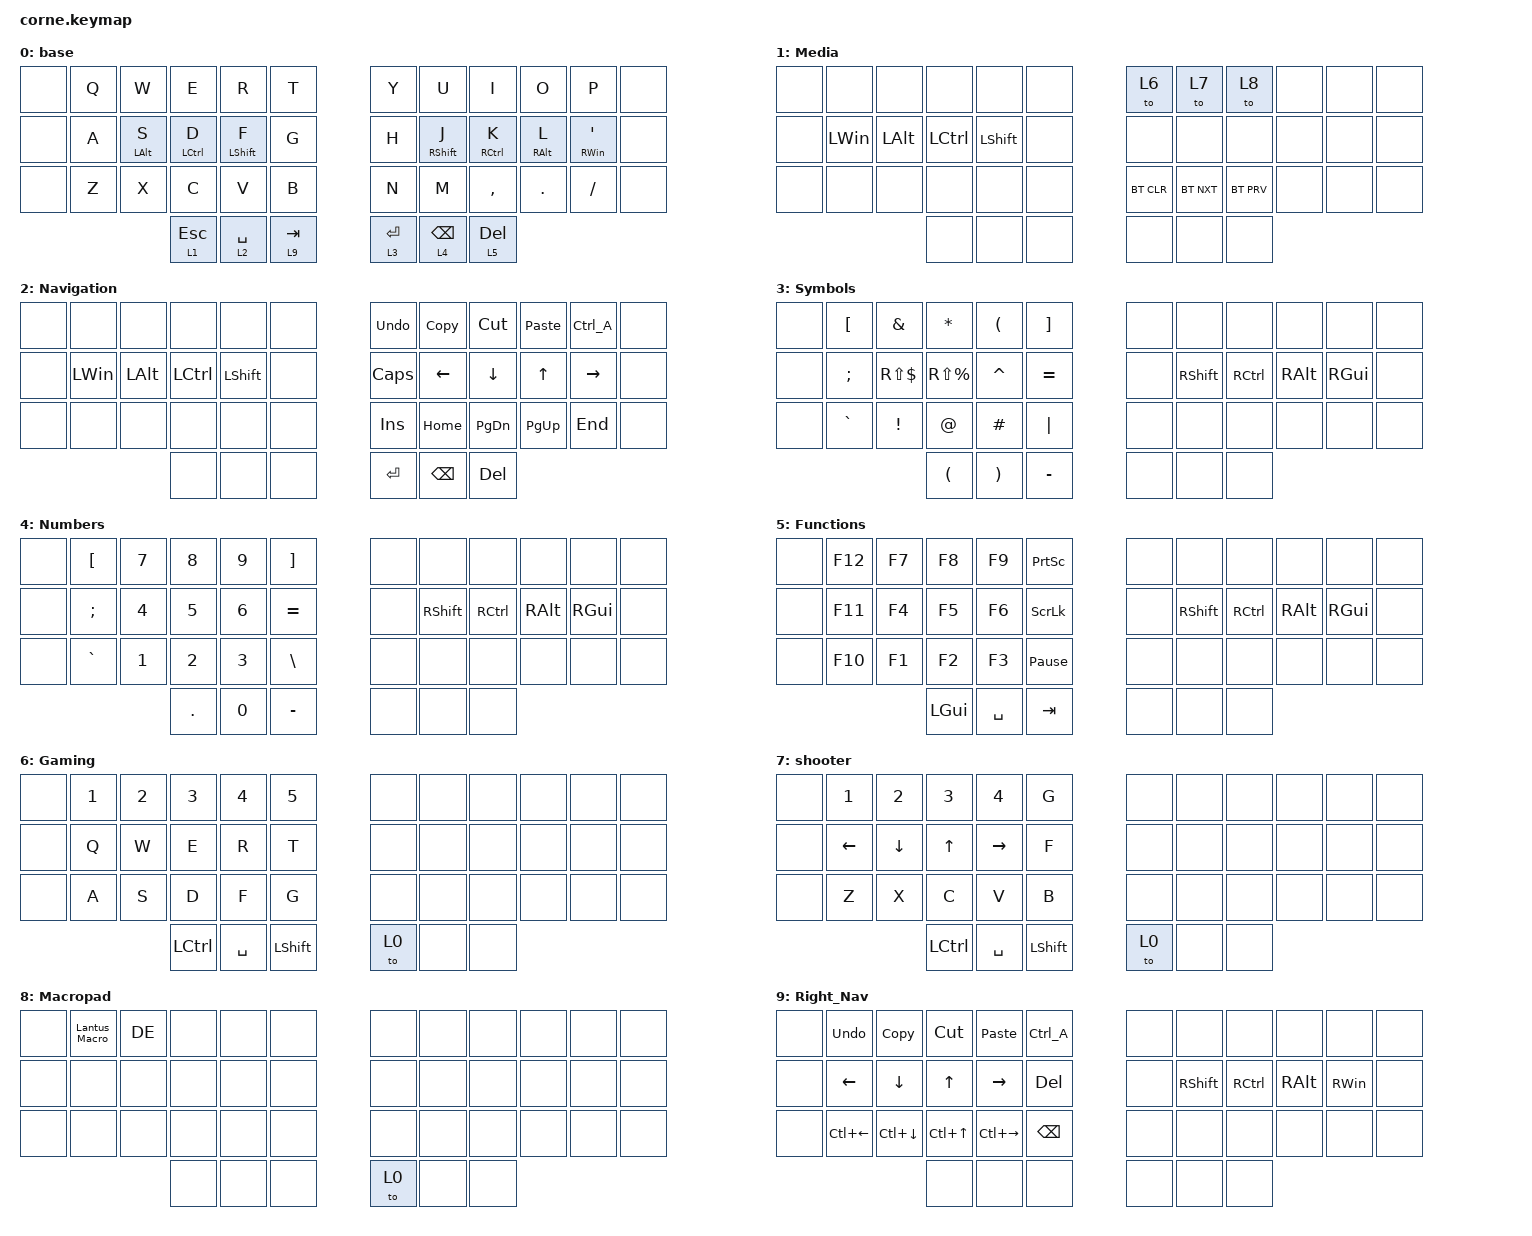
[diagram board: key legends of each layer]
/*
 * Copyright (c) 2020 The ZMK Contributors
 *
 * SPDX-License-Identifier: MIT
 */

#include <behaviors.dtsi>
#include <dt-bindings/zmk/bt.h>
#include <dt-bindings/zmk/keys.h>

/ {
    macros {
        Redo: Redo {
            compatible = "zmk,behavior-macro";
            label = "REDO";
            #binding-cells = <0>;
            bindings =
                <&macro_press>,
                <&kp LCTRL>,
                <&macro_tap>,
                <&kp Y>,
                <&macro_release>,
                <&kp LCTRL>;
        };
        Paste: Paste {
            compatible = "zmk,behavior-macro";
            label = "PASTE";
            #binding-cells = <0>;
            bindings =
                <&macro_press>,
                <&kp LCTRL>,
                <&macro_tap>,
                <&kp V>,
                <&macro_release>,
                <&kp LCTRL>;
        };
        Copy: Copy {
            compatible = "zmk,behavior-macro";
            label = "COPY";
            #binding-cells = <0>;
            bindings =
                <&macro_press>,
                <&kp LCTRL>,
                <&macro_tap>,
                <&kp C>,
                <&macro_release>,
                <&kp LCTRL>;
        };
        Cut: Cut {
            compatible = "zmk,behavior-macro";
            label = "CUT";
            #binding-cells = <0>;
            bindings =
                <&macro_press>,
                <&kp LCTRL>,
                <&macro_tap>,
                <&kp X>,
                <&macro_release>,
                <&kp LCTRL>;
        };
        Undo: Undo {
            compatible = "zmk,behavior-macro";
            label = "UNDO";
            #binding-cells = <0>;
            bindings =
                <&macro_press>,
                <&kp LCTRL>,
                <&macro_tap>,
                <&kp Z>,
                <&macro_release>,
                <&kp LCTRL>;
        };
        Lantus_Macro: Lantus_Macro {
            compatible = "zmk,behavior-macro";
            label = "LANTUS_MACRO";
            #binding-cells = <0>;
            bindings =
                <&macro_tap>,
                <&kp LS(L) &kp LS(A) &kp LS(N) &kp LS(T) &kp LS(U) &kp LS(S) &kp DOWN &kp ENTER &kp TAB &kp B &kp TAB &kp A>;
        };
        Ctrl_A: Ctrl_A {
            compatible = "zmk,behavior-macro";
            label = "CTRL_A";
            #binding-cells = <0>;
            bindings =
                <&macro_press>,
                <&kp LEFT_CONTROL>,
                <&macro_tap>,
                <&kp A>,
                <&macro_release>,
                <&kp LCTRL>;
        };
        DE: DE {
            compatible = "zmk,behavior-macro";
            label = "DE";
            #binding-cells = <0>;
            bindings =
                <&macro_tap>,
                <&kp LS(O) &kp N9 &kp N7 &kp N3 &kp N3 &kp N4 &kp N7 &kp TAB>,
                <&macro_press>,
                <&kp LEFT_CONTROL>,
                <&macro_tap>,
                <&kp V>,
                <&macro_release>,
                <&kp LEFT_CONTROL>,
                <&macro_tap>,
                <&kp TAB &kp ENTER>;
        };
    };

    behaviors {
        bhm: Balanced_homerow_mods {
            compatible = "zmk,behavior-hold-tap";
            label = "HOMEROW_MODS";
            bindings =
                <&kp>,
                <&kp>;

            #binding-cells = <2>;
            tapping-term-ms = <200>;
            quick-tap-ms = <0>;
            flavor = "balanced";
        };
    };

    keymap {
        compatible = "zmk,keymap";

        base {
            // -----------------------------------------------------------------------------------------
            // |  TAB |  Q  |  W  |  E  |  R  |  T  |   |  Y  |  U   |  I  |  O  |  P  | BKSP |
            // | CTRL |  A  |  S  |  D  |  F  |  G  |   |  H  |  J   |  K  |  L  |  ;  |  '   |
            // | SHFT |  Z  |  X  |  C  |  V  |  B  |   |  N  |  M   |  ,  |  .  |  /  | ESC  |
            //                    | GUI | LWR | SPC |   | ENT | RSE  | ALT |

            bindings = <
&none  &kp Q  &kp W        &kp E                &kp R              &kp T        &kp Y      &kp U               &kp I                 &kp O             &kp P                        &none
&none  &kp A  &bhm LALT S  &bhm LEFT_CONTROL D  &bhm LEFT_SHIFT F  &kp G        &kp H      &bhm RIGHT_SHIFT J  &bhm RIGHT_CONTROL K  &bhm RIGHT_ALT L  &bhm RIGHT_WIN SINGLE_QUOTE  &none
&none  &kp Z  &kp X        &kp C                &kp V              &kp B        &kp N      &kp M               &kp COMMA             &kp DOT           &kp FSLH                     &none
                           &lt 1 ESCAPE         &lt 2 SPACE        &lt 9 TAB    &lt 3 RET  &lt 4 BACKSPACE     &lt 5 DELETE
            >;
        };

        Media {
            bindings = <
&none  &none         &none         &none             &none           &none    &to 6       &to 7       &to 8       &none  &none  &none
&none  &kp LEFT_WIN  &kp LEFT_ALT  &kp LEFT_CONTROL  &kp LEFT_SHIFT  &none    &none       &none       &none       &none  &none  &none
&none  &none         &none         &none             &none           &none    &bt BT_CLR  &bt BT_NXT  &bt BT_PRV  &none  &none  &none
                                   &none             &none           &none    &none       &none       &none
            >;
        };

        Navigation {
            bindings = <
&none  &none         &none         &none             &none       &none    &Undo         &Copy          &Cut           &Paste       &Ctrl_A    &none
&none  &kp LEFT_WIN  &kp LEFT_ALT  &kp LEFT_CONTROL  &kp LSHIFT  &none    &kp CAPSLOCK  &kp LEFT       &kp DOWN       &kp UP       &kp RIGHT  &none
&none  &none         &none         &none             &none       &none    &kp INSERT    &kp HOME       &kp PAGE_DOWN  &kp PAGE_UP  &kp END    &none
                                   &none             &none       &none    &kp RETURN    &kp BACKSPACE  &kp DELETE
            >;
        };

        Symbols {
            bindings = <
&none  &kp LEFT_BRACKET  &kp AMPS         &kp ASTERISK          &kp LEFT_PARENTHESIS   &kp RBKT     &none  &none      &none      &none     &none     &none
&none  &kp SEMICOLON     &kp RS(DOLLAR)   &kp RS(PERCENT)       &kp CARET              &kp EQUAL    &none  &kp RSHFT  &kp RCTRL  &kp RALT  &kp RGUI  &none
&none  &kp GRAVE         &kp EXCLAMATION  &kp AT_SIGN           &kp HASH               &kp PIPE     &none  &none      &none      &none     &none     &none
                                          &kp LEFT_PARENTHESIS  &kp RIGHT_PARENTHESIS  &kp MINUS    &none  &none      &none
            >;
        };

        Numbers {
            bindings = <
&none  &kp LBKT   &kp N7  &kp N8   &kp N9  &kp RIGHT_BRACKET    &none  &none      &none      &none     &none     &none
&none  &kp SEMI   &kp N4  &kp N5   &kp N6  &kp EQUAL            &none  &kp RSHFT  &kp RCTRL  &kp RALT  &kp RGUI  &none
&none  &kp GRAVE  &kp N1  &kp N2   &kp N3  &kp BSLH             &none  &none      &none      &none     &none     &none
                          &kp DOT  &kp N0  &kp MINUS            &none  &none      &none
            >;
        };

        Functions {
            bindings = <
&none  &kp F12  &kp F7  &kp F8        &kp F9     &kp PRINTSCREEN    &none  &none      &none      &none     &none     &none
&none  &kp F11  &kp F4  &kp F5        &kp F6     &kp SCROLLLOCK     &none  &kp RSHFT  &kp RCTRL  &kp RALT  &kp RGUI  &none
&none  &kp F10  &kp F1  &kp F2        &kp F3     &kp PAUSE_BREAK    &none  &none      &none      &none     &none     &none
                        &kp LEFT_GUI  &kp SPACE  &kp TAB            &none  &none      &none
            >;
        };

        Gaming {
            bindings = <
&none  &kp N1  &kp N2  &kp N3     &kp N4     &kp N5       &none  &none  &none  &none  &none  &none
&none  &kp Q   &kp W   &kp E      &kp R      &kp T        &none  &none  &none  &none  &none  &none
&none  &kp A   &kp S   &kp D      &kp F      &kp G        &none  &none  &none  &none  &none  &none
                       &kp LCTRL  &kp SPACE  &kp LSHFT    &to 0  &none  &none
            >;
        };

        shooter {
            bindings = <
&none  &kp N1    &kp N2    &kp N3     &kp N4     &kp G        &none  &none  &none  &none  &none  &none
&none  &kp LEFT  &kp DOWN  &kp UP     &kp RIGHT  &kp F        &none  &none  &none  &none  &none  &none
&none  &kp Z     &kp X     &kp C      &kp V      &kp B        &none  &none  &none  &none  &none  &none
                           &kp LCTRL  &kp SPACE  &kp LSHFT    &to 0  &none  &none
            >;
        };

        Macropad {
            bindings = <
&none  &Lantus_Macro  &DE    &none  &none  &none    &none  &none  &none  &none  &none  &none
&none  &none          &none  &none  &none  &none    &none  &none  &none  &none  &none  &none
&none  &none          &none  &none  &none  &none    &none  &none  &none  &none  &none  &none
                             &none  &none  &none    &to 0  &none  &none
            >;
        };

        Right_Nav {
            bindings = <
&none  &Undo           &Copy         &Cut              &Paste         &Ctrl_A          &none  &none            &none              &none          &none          &none
&none  &kp LEFT_ARROW  &kp DOWN      &kp UP            &kp RIGHT      &kp DEL          &none  &kp RIGHT_SHIFT  &kp RIGHT_CONTROL  &kp RIGHT_ALT  &kp RIGHT_WIN  &none
&none  &kp LC(LEFT)    &kp LC(DOWN)  &kp LC(UP_ARROW)  &kp LC(RIGHT)  &kp BACKSPACE    &none  &none            &none              &none          &none          &none
                                     &none             &none          &none            &none  &none            &none
            >;
        };
    };
};
